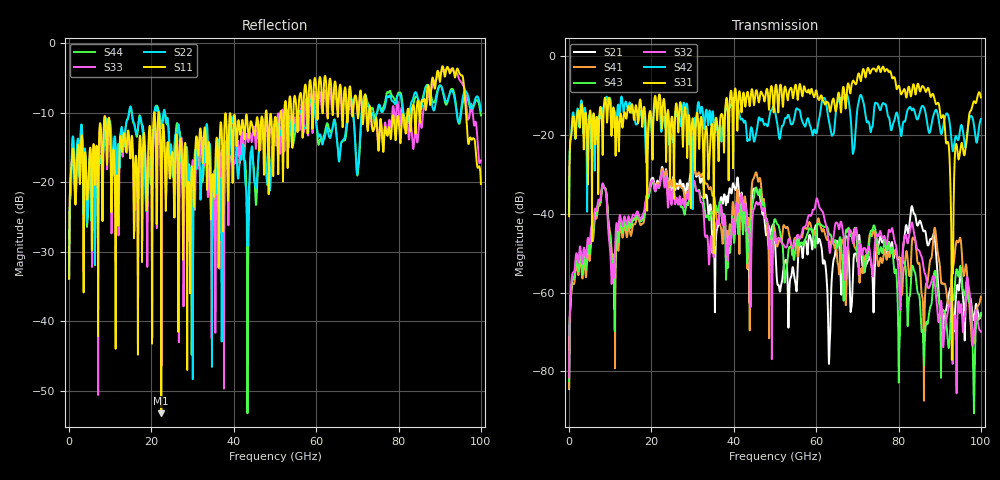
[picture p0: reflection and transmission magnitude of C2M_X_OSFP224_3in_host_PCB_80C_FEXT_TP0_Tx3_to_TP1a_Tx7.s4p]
# GHz S RI R 45
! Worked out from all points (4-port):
!   4000 points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, 25 MHz to 100 GHz, reference 45 ohm
!   strongest paths, dB at 25 MHz, 25.02 GHz, 50.02 GHz, 75.03 GHz, 100 GHz:
!     S31: -40.6, -15.4, -8.6, -2.6, -10.4
!     S42: -40.1, -20.8, -13.9, -12.3, -15.9
!     S32: -81.6, -36.5, -45.3, -45.7, -69.9
!     S43: -82.5, -35.9, -41.4, -49.5, -65.2
!     S41: -84.2, -33.0, -44.5, -53.0, -61.1
!     S21: -84.5, -33.3, -47.2, -48.3, -65.7
!   lowest |S11| = -53.2 dB at 22.4 GHz (marker M1), VSWR 1.00, Z = 45.2 + j0.05 ohm
!   |S11| at or under -10 dB: start of sweep to 20.67 GHz; 21.81 GHz to 47.77 GHz (25.96 GHz wide, 74.6 % of centre); 73.25 GHz to 82.13 GHz (8.88 GHz wide, 11.4 % of centre)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
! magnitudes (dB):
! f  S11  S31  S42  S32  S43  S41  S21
! 25 MHz  -33.9  -40.6  -40.1  -81.6  -82.5  -84.2  -84.5
! 8.3 GHz  -15.7  -18.0  -13.0  -32.5  -32.6  -32.7  -32.7
! 22.4 GHz  -53.2  -16.2  -19.2  -30.1  -29.9  -29.3  -29.2
! 63.17 GHz  -5.7  -12.9  -16.8  -48.9  -45.2  -47.2  -76.8
! 77.5 GHz  -12.7  -3.8  -15.4  -44.9  -47.4  -49.7  -47.7
! 93.03 GHz  -3.6  -53.9  -23.2  -70.8  -60.6  -54.1  -62.5
! 100 GHz  -20.3  -10.4  -15.9  -69.9  -65.2  -61.1  -65.7
